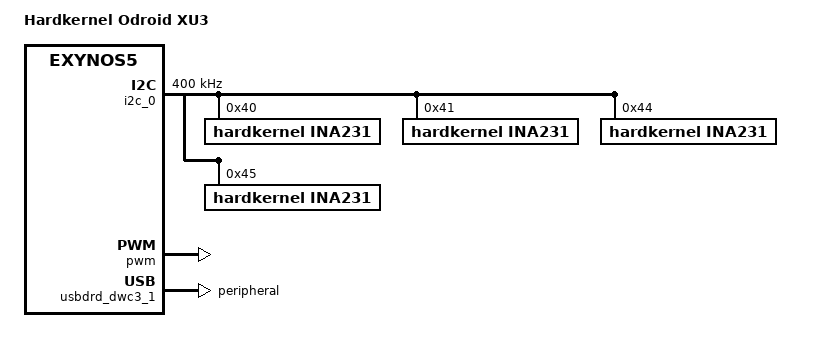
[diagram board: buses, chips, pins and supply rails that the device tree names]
// SPDX-License-Identifier: GPL-2.0
/*
 * Hardkernel Odroid XU3 board device tree source
 *
 * Copyright (c) 2014 Collabora Ltd.
 * Copyright (c) 2013 Samsung Electronics Co., Ltd.
 *		http://www.samsung.com
 */

/dts-v1/;
#include "exynos5422-odroidxu3-common.dtsi"
#include "exynos5422-odroidxu3-audio.dtsi"
#include "exynos54xx-odroidxu-leds.dtsi"

/ {
	model = "Hardkernel Odroid XU3";
	compatible = "hardkernel,odroid-xu3", "samsung,exynos5800", "samsung,exynos5";
};

&i2c_0 {
	status = "okay";
	clock-frequency = <400000>;

	/* Energy sensors on the XU3 */
	/* A15 cluster sensor */
        ina231@40  {
                compatible = "hardkernel,INA231";
                reg = <0x40>;
                sensor-name = "sensor_arm";
                enable = <0>;
                max_A = <9>;
                shunt_R_mohm = <10>;
                config = <0x45FF>;
                update_period = <263808>;
        };

	/* memory sensor */
        ina231@41  {
                compatible = "hardkernel,INA231";
                reg = <0x41>;
                sensor-name = "sensor_mem";
                enable = <0>;
                max_A = <3>;
                shunt_R_mohm = <10>;
                config = <0x45FF>;
                update_period = <263808>;
        };

	/* GPU sensor */
        ina231@44  {
                compatible = "hardkernel,INA231";
                reg = <0x44>;
                sensor-name = "sensor_g3d";
                enable = <0>;
                max_A = <5>;
                shunt_R_mohm = <10>;
                config = <0x45FF>;
                update_period = <263808>;
        };

	/* A7 cluster sensor */
        ina231@45  {
                compatible = "hardkernel,INA231";
                reg = <0x45>;
                sensor-name = "sensor_kfc";
                enable = <0>;
                max_A = <2>;
                shunt_R_mohm = <10>;
                config = <0x45FF>;
                update_period = <263808>;
        };
};

/* Add additional operation points to the A15 and A7 clusters */
&cluster_a15_opp_table {
	opp-2000000000 {
		opp-hz = /bits/64 <2000000000>;
		opp-microvolt = <1312500>;
		clock-latency-ns = <140000>;
	};
	opp-1900000000 {
		opp-hz = /bits/64 <1900000000>;
		opp-microvolt = <1250000>;
		clock-latency-ns = <140000>;
	};
	opp-1800000000 {
		opp-microvolt = <1200000>;
	};
	opp-1700000000 {
		opp-microvolt = <1162500>;
	};
	opp-1600000000 {
		opp-microvolt = <1122000>;
	};
	opp-1500000000 {
		opp-microvolt = <1087500>;
	};
	opp-1400000000 {
		opp-microvolt = <1062500>;
	};
	opp-1300000000 {
		opp-microvolt = <1050000>;
	};
	opp-1200000000 {
		opp-microvolt = <1025000>;
	};
	opp-1100000000 {
		opp-microvolt = <1000000>;
	};
	opp-1000000000 {
		opp-microvolt = <975000>;
	};
	opp-900000000 {
		opp-microvolt = <950000>;
	};
	opp-800000000 {
		opp-microvolt = <925000>;
	};
	opp-700000000 {
		opp-microvolt = <900000>;
	};
	opp-600000000 {
		opp-hz = /bits/ 64 <600000000>;
		opp-microvolt = <900000>;
		clock-latency-ns = <140000>;
	};
	opp-500000000 {
		opp-hz = /bits/ 64 <500000000>;
		opp-microvolt = <900000>;
		clock-latency-ns = <140000>;
	};
	opp-400000000 {
		opp-hz = /bits/ 64 <400000000>;
		opp-microvolt = <900000>;
		clock-latency-ns = <140000>;
	};
	opp-300000000 {
		opp-hz = /bits/ 64 <300000000>;
		opp-microvolt = <900000>;
		clock-latency-ns = <140000>;
	};
	opp-200000000 {
		opp-hz = /bits/ 64 <200000000>;
		opp-microvolt = <900000>;
		clock-latency-ns = <140000>;
	};
};

&cluster_a7_opp_table {
	opp-1400000000 {
		opp-hz = /bits/ 64 <1400000000>;
		opp-microvolt = <1275000>;
		clock-latency-ns = <140000>;
	};
	opp-1300000000 {
		opp-microvolt = <1225000>;
	};
	opp-1200000000 {
		opp-microvolt = <1175000>;
	};
	opp-1100000000 {
		opp-microvolt = <1135000>;
	};
	opp-1000000000 {
		opp-microvolt = <1100000>;
	};
	opp-900000000 {
		opp-microvolt = <1062500>;
	};
	opp-800000000 {
		opp-microvolt = <1025000>;
	};
	opp-700000000 {
		opp-microvolt = <987500>;
	};
	opp-600000000 {
		opp-microvolt = <950000>;
	};
	opp-500000000 {
		opp-microvolt = <900000>;
	};
	opp-400000000 {
		opp-microvolt = <900000>;
	};
	opp-300000000 {
		opp-hz = /bits/ 64 <300000000>;
		opp-microvolt = <900000>;
		clock-latency-ns = <140000>;
	};
	opp-200000000 {
		opp-hz = /bits/ 64 <200000000>;
		opp-microvolt = <900000>;
		clock-latency-ns = <140000>;
	};
};

/* Use the new maximal frequencies for the CPUs */
&cpu0 {
	clock-frequency = <1400000000>;
};
&cpu1 {
	clock-frequency = <1400000000>;
};
&cpu2 {
	clock-frequency = <1400000000>;
};
&cpu3 {
	clock-frequency = <1400000000>;
};
&cpu4 {
	clock-frequency = <2000000000>;
};
&cpu5 {
	clock-frequency = <2000000000>;
};
&cpu6 {
	clock-frequency = <2000000000>;
};
&cpu7 {
	clock-frequency = <2000000000>;
};

/* Final setup of the mali device */
&mali {
        mali-supply = <&buck4_reg>;
};

&pwm {
	/*
	 * PWM 0 -- fan
	 * PWM 1 -- Green LED
	 * PWM 2 -- Blue LED
	 * PWM 3 -- on MIPI connector for backlight
	 */
	pinctrl-0 = <&pwm0_out &pwm1_out &pwm2_out &pwm3_out>;
	pinctrl-names = "default";
	status = "okay";
};

&usbdrd_dwc3_1 {
	dr_mode = "peripheral";
};
